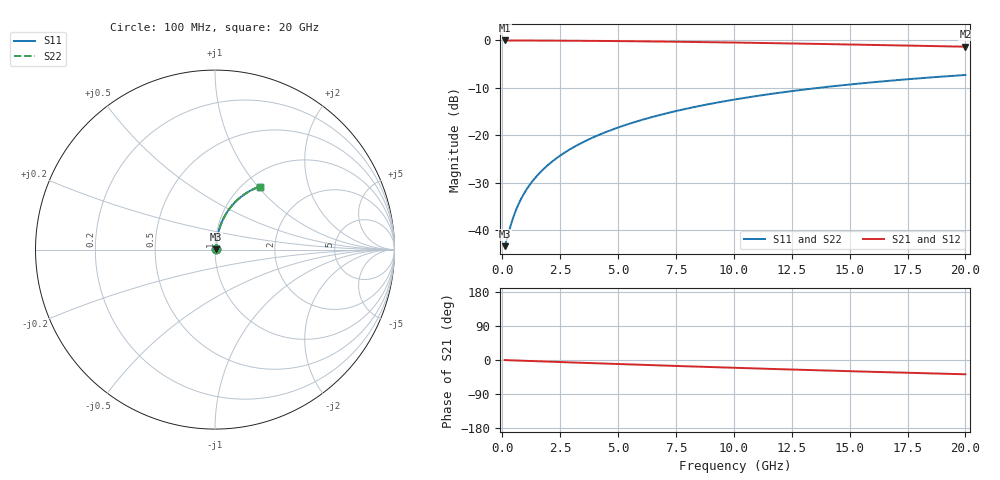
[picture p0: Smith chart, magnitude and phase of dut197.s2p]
! Touchstone file exported from HFSS 2024.1.0
!  File:  C:/UserFiles/LocalFiles/RDL_TSV_Batchsim/temp_RDL_top_197_1778686860.aedt
!  Generated:  11:43:17 PM May 13, 2026
!  Design:  RDL_top
!  Project:  temp_RDL_top_197_1778686860
!  Setup:  Setup1
!  Solution:  Sweep
! Variables:
!  dtsv = 10.80580581um
!  hbump = 3um
!  htsv = 51.17um
!  ldown = 100um
!  lrdl = 486.55um
!  p = 40
!  p1 = 41.3um
!  rhole = 1um
!  t = 450um
!  tdown = 3.915915916um
!  trdl = 2.29um
!  wdown = 15.38538539um
!  wrdl = 12.22um
# GHz S MA R 50.000000
! Terminal data exported
! Port[1] = Box2_T1
! Port[2] = Box2_T2
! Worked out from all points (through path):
!   200 points, 100 MHz to 20 GHz, reference 50 ohm
!   highest |S21| = -0.05 dB at 100 MHz (marker M1); lowest = -1.4 dB at 20 GHz (marker M2)
!   group delay of S21, straight-line fit = 5.24 ps
!   lowest |S11| = -43.4 dB at 100 MHz (marker M3), VSWR 1.01, Z = 50.6 + j0.256 ohm
!   |S11| at or under -10 dB: start of sweep to 13.73 GHz
!   |S22| runs from -43.4 to -7.3 dB; largest |S21 - S12| = 2.6e-15
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0.1  0.006761 21.9  0.9937 -0.2  0.9937 -0.2  0.006761 21.9
! Gamma 0 0 0 0
! Port Impedance 50 0 50 0
0.2  0.008096 38.5  0.9937 -0.4  0.9937 -0.4  0.008096 38.5
0.4  0.01198 56.7  0.9934 -0.9  0.9934 -0.9  0.01198 56.7
0.6  0.01643 65.2  0.9931 -1.3  0.9931 -1.3  0.01643 65.2
0.7  0.01872 67.7  0.993 -1.5  0.993 -1.5  0.01872 67.8
0.9  0.02334 71.3  0.9926 -2.0  0.9926 -2.0  0.02334 71.3
1.2  0.03031 74.4  0.992 -2.6  0.992 -2.6  0.03031 74.4
1.4  0.03498 75.8  0.9916 -3.1  0.9916 -3.1  0.03498 75.8
1.7  0.042 77.2  0.991 -3.7  0.991 -3.7  0.042 77.2
2.2  0.05376 78.4  0.9898 -4.8  0.9898 -4.8  0.05376 78.4
2.8  0.06795 79.0  0.988 -6.0  0.988 -6.0  0.06795 79.0
3.5  0.08457 79.1  0.9855 -7.5  0.9855 -7.5  0.08457 79.1
4.2  0.1012 78.7  0.9826 -9.0  0.9826 -9.0  0.1012 78.8
5  0.1203 78.0  0.9788 -10.6  0.9788 -10.6  0.1203 78.1
5.9  0.1416 77.0  0.9739 -12.5  0.9739 -12.5  0.1416 77.0
6.8  0.1629 75.8  0.9684 -14.3  0.9684 -14.3  0.1629 75.8
8.4  0.2001 73.4  0.9574 -17.5  0.9574 -17.5  0.2002 73.5
10.1  0.2387 70.7  0.9443 -20.7  0.9443 -20.7  0.2387 70.7
11.7  0.2738 68.1  0.931 -23.7  0.931 -23.7  0.2738 68.1
13.4  0.3094 65.3  0.916 -26.8  0.916 -26.8  0.3095 65.3
16.7  0.3734 59.9  0.8854 -32.4  0.8854 -32.4  0.3735 59.9
20  0.4301 54.7  0.854 -37.7  0.854 -37.7  0.4302 54.7
